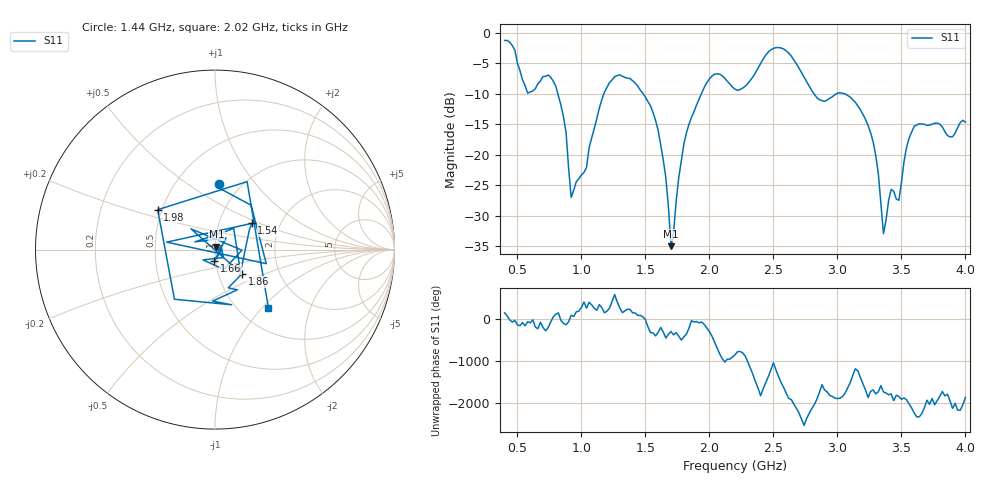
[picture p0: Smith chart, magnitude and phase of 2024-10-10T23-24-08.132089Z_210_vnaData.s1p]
! Created with skrf (http://scikit-rf.org).
# Hz S RI R 50.0
!freq ReS11 ImS11
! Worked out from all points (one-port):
!   181 points, 400 MHz to 4 GHz, reference 50 ohm
!   lowest |S11| = -35.0 dB at 1.7 GHz (marker M1), VSWR 1.04, Z = 50.8 + j1.59 ohm
!   |S11| at or under -10 dB: 815.5 MHz to 1.176 GHz (360 MHz wide, 36.2 % of centre); 1.482 GHz to 1.937 GHz (455.2 MHz wide, 26.6 % of centre); 3.053 GHz to end of sweep (the widest 3 of 4)
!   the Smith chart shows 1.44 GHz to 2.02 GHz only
!   S11 on the Smith chart (normalised r, x): 1.44 GHz: 0.79, +0.67; 1.54 GHz: 1.43, +0.45; 1.66 GHz: 0.98, -0.13; 1.86 GHz: 1.30, -0.37; 1.98 GHz: 0.47, +0.25; 2.02 GHz: 1.34, -1.09
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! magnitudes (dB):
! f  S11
! 400 MHz  -1.3
! 580 MHz  -9.9
! 760 MHz  -7.3
! 860 MHz  -13.8
! 920 MHz  -27.0
! 1.04 GHz  -22.1
! 1.18 GHz  -9.7
! 1.3 GHz  -6.9
! 1.44 GHz  -8.7
! 1.54 GHz  -12.0
! 1.66 GHz  -23.8
! 1.7 GHz  -35.0
! 1.76 GHz  -23.9
! 1.86 GHz  -13.9
! 1.98 GHz  -8.2
! 2.02 GHz  -7.1
! 2.2 GHz  -9.2
! 2.5 GHz  -2.6
! 2.66 GHz  -4.4
! 2.86 GHz  -11.0
! 3.1 GHz  -10.5
! 3.28 GHz  -18.0
! 3.32 GHz  -23.2
! 3.36 GHz  -33.0
! 3.42 GHz  -25.7
! 3.48 GHz  -27.5
! 3.56 GHz  -17.3
! 4 GHz  -14.7
